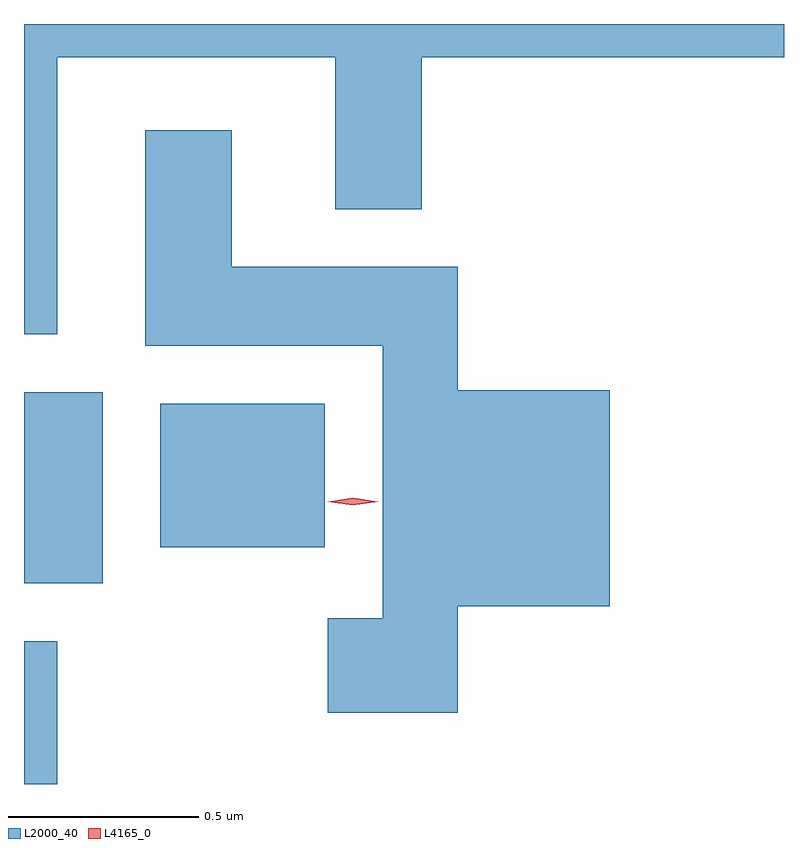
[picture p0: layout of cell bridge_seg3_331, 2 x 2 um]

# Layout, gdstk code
import gdstk
lib = gdstk.Library(unit=1e-6, precision=1e-09)
def R(c, l, rs):  # rectangles x0, y0, x1, y1
    for r in rs: c.add(gdstk.rectangle(r[:2], r[2:], *l))
def P(c, l, *ps):  # polygons
    for p in ps: c.add(gdstk.Polygon(p, *l))
L2000_40 = (2000, 40)
L4165_0 = (4165, 0)

bridge_seg3_331 = lib.new_cell('bridge_seg3_331')
R(bridge_seg3_331, L2000_40, [(593.972,1135.203,594.059,1135.579), (593.972,1135.731,594.179,1136.234), (594.331,1135.826,594.764,1136.204)])
P(bridge_seg3_331, L2000_40, [(594.059,1137.116),(594.791,1137.116),(594.791,1136.716),(595.019,1136.716),(595.019,1137.116),(595.972,1137.116),(595.972,1137.203),(593.972,1137.203),(593.972,1136.386),(594.059,1136.386)],
  [(595.114,1135.671),(595.514,1135.671),(595.514,1136.239),(595.114,1136.239),(595.114,1136.564),(594.519,1136.564),(594.519,1136.924),(594.291,1136.924),(594.291,1136.356),(594.916,1136.356),(594.916,1135.639),(594.771,1135.639),(594.771,1135.391),(595.114,1135.391)])
P(bridge_seg3_331, L4165_0, [(594.837,1135.936),(594.771,1135.946),(594.77,1135.946),(594.771,1135.946),(594.837,1135.956),(594.904,1135.946),(594.904,1135.946),(594.904,1135.946)])

lib.write_gds('bridge_seg3_331.gds')
